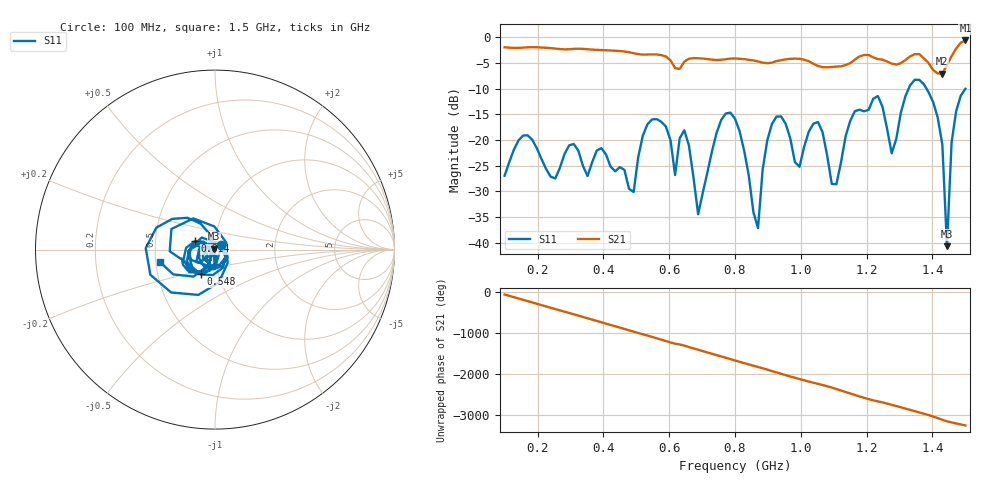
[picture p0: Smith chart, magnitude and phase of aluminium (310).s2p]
! NanoVNA-App
! Date: 2025-09-25 14:57:41
! Start: 100MHz Stop: 1,5GHz Points: 101
! S-Parameter data: F S11 S21 S12 S22
# Hz S RI R 50
!  Frequency  S11_Real  S11_Imag  S21_Real  S21_Imag  S12_Real  S12_Imag  S22_Real  S22_Imag
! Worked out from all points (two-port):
!   101 points, 100 MHz to 1.5 GHz, reference 50 ohm
!   highest |S21| = -0.59 dB at 1.5 GHz (marker M1); lowest = -7.1 dB at 1.43 GHz (marker M2)
!   |S21| within 3 dB of the highest: start of sweep to 583.6 MHz; 1.459 GHz to end of sweep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
!   lowest |S11| = -40.7 dB at 1.444 GHz (marker M3), VSWR 1.02, Z = 49.2 + j0.481 ohm
!   |S11| at or under -10 dB: start of sweep to 1.327 GHz; 1.382 GHz to end of sweep
!   S12 and S22 are empty: the file has one direction only
!   S11 on the Smith chart (normalised r, x): 100 MHz: 1.07, +0.06; 548 MHz: 0.82, -0.23; 814 MHz: 0.79, +0.07; 1.5 GHz: 0.52, -0.08
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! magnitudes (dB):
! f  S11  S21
! 100 MHz  -27.0  -1.9
! 338 MHz  -25.0  -2.2
! 492 MHz  -30.1  -3.1
! 548 MHz  -16.0  -3.3
! 576 MHz  -16.4  -3.4
! 618 MHz  -26.8  -6.0
! 646 MHz  -18.1  -4.7
! 688 MHz  -34.5  -4.1
! 800 MHz  -15.8  -4.1
! 814 MHz  -18.3  -4.2
! 870 MHz  -37.2  -4.7
! 912 MHz  -16.9  -4.9
! 996 MHz  -25.2  -4.2
! 1.038 GHz  -16.8  -5.1
! 1.094 GHz  -28.6  -5.8
! 1.234 GHz  -11.4  -4.2
! 1.276 GHz  -22.6  -5.1
! 1.346 GHz  -8.3  -3.3
! 1.43 GHz  -20.9  -7.1
! 1.444 GHz  -40.7  -5.4
! 1.458 GHz  -20.5  -3.6
! 1.5 GHz  -10.0  -0.6
